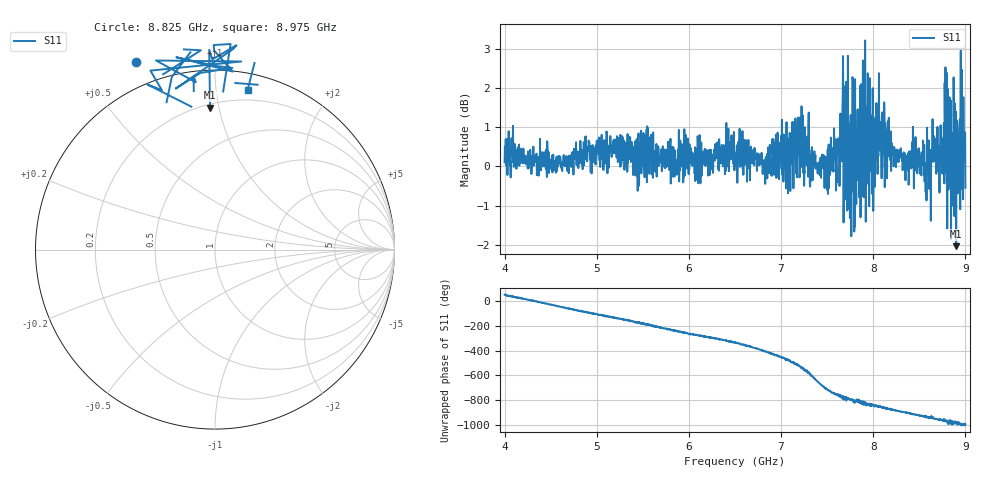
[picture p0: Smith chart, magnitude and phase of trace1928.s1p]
! Created with skrf 1.8.0 (http://scikit-rf.org).
# Hz S RI R 50.0
!freq ReS11 ImS11
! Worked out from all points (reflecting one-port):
!   1601 points, 4 GHz to 9 GHz, reference 50 ohm
!   lowest |S11| = -2.0 dB at 8.9 GHz (marker M1), VSWR 8.59, Z = 11.1 + j47 ohm
!   phase of S11 starts at 53 deg and turns -1049 deg over the sweep
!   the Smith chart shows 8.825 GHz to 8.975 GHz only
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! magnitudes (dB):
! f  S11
! 4 GHz  0.1
! 4.625 GHz  -0.1
! 5.25 GHz  0.1
! 5.875 GHz  0.0
! 6.5 GHz  0.2
! 6.825 GHz  -0.1
! 6.984 GHz  0.1
! 7.078 GHz  0.1
! 7.125 GHz  0.2
! 7.209 GHz  0.5
! 7.494 GHz  0.2
! 7.616 GHz  0.7
! 7.681 GHz  -0.3
! 7.725 GHz  2.8
! 7.75 GHz  0.0
! 7.825 GHz  0.7
! 7.928 GHz  1.5
! 7.981 GHz  0.0
! 8.05 GHz  1.2
! 8.375 GHz  0.0
! 8.6 GHz  -0.2
! 8.656 GHz  0.8
! 8.738 GHz  0.5
! 8.788 GHz  0.0
! 8.856 GHz  0.5
! 8.9 GHz  -2.0
! 8.972 GHz  0.5
! 9 GHz  -0.5
